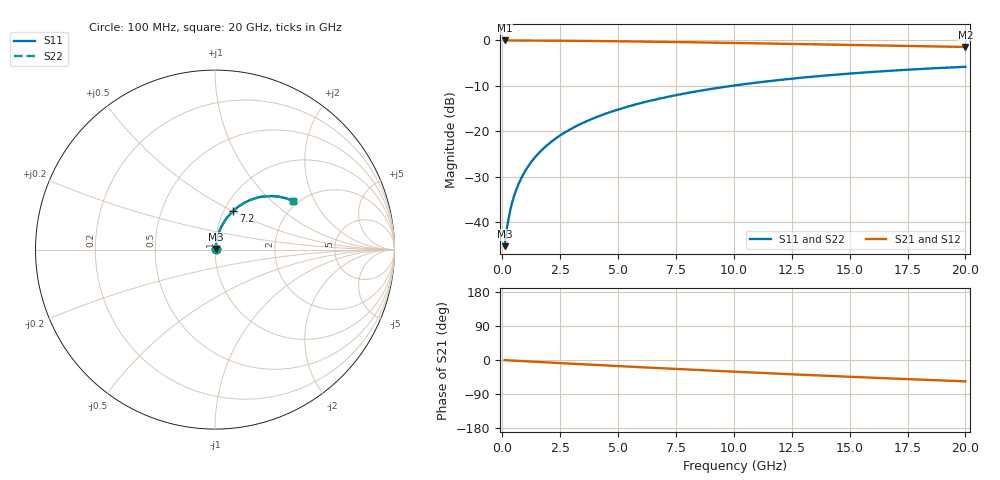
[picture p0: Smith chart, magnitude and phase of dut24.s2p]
! Touchstone file exported from HFSS 2026.1.0
!  File:  C:/ffzhzh/LocalFiles/Ansys_Project_Files/temp_train_TMRDL_24_1782880401_13352.aedt
!  Generated:  12:34:48 PM Jul  1, 2026
!  Design:  TMRDL
!  Project:  temp_train_TMRDL_24_1782880401_13352
! Variables:
!  h_bsmrdl = 2um
!  h_ox = 20um
!  h_rdl = 5um
!  h_sub = 80um
!  h_tmrdl = 5.82um
!  h_tsv = 80um
!  h_via = 3um
!  l_bsmrdl = 300um
!  l_sub = 1276.63um
!  l_tmrdl = 876.63um
!  m_sub = 200um
!  pitch = 42.99um
!  r_tsv = 6um
!  s_tmrdl = 10um
!  w_bsmrdl = 18um
!  w_sub = 500um
!  w_tmrdl = 14.11um
!  x_tsv_center1 = 883.685um
!  x_tsv_center2 = 1201.685um
!  x_tsv_center3 = 2092.425um
!  x_tsv_center4 = 2410.425um
!  x_tsv_center5 = 3301.165um
!  x_tsv_center6 = 3619.165um
# GHz S MA R 50.000000
! Terminal data exported
! Port[1] = TM_RDL1_1_T1
! Port[2] = TM_RDL1_1_T2
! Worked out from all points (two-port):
!   200 points, 100 MHz to 20 GHz, reference 50 ohm
!   highest |S21| = -0.03 dB at 100 MHz (marker M1); lowest = -1.5 dB at 20 GHz (marker M2)
!   |S21| within 3 dB of the highest: start of sweep to end of sweep
!   lowest |S11| = -45.3 dB at 100 MHz (marker M3), VSWR 1.01, Z = 50.4 + j0.382 ohm
!   |S11| at or under -10 dB: start of sweep to 9.956 GHz
!   |S22| runs from -45.3 to -5.8 dB; largest |S21 - S12| = 7.6e-15
!   S11 on the Smith chart (normalised r, x): 100 MHz: 1.01, +0.01; 7.2 GHz: 1.11, +0.51; 20 GHz: 1.87, +1.38
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0.1  0.005411 44.5  0.9962 -0.3  0.9962 -0.3  0.005411 44.5
! Gamma 0 0 0 0
! Port Impedance 50 0 50 0
0.2  0.008539 61.7  0.996 -0.7  0.996 -0.7  0.008539 61.7
0.3  0.01196 68.9  0.9958 -1.0  0.9958 -1.0  0.01196 68.9
0.4  0.01545 72.8  0.9957 -1.3  0.9957 -1.3  0.01545 72.8
0.5  0.01897 75.2  0.9955 -1.7  0.9955 -1.7  0.01897 75.2
0.6  0.02251 76.7  0.9954 -2.0  0.9954 -2.0  0.02251 76.7
0.8  0.02962 78.5  0.995 -2.7  0.995 -2.7  0.02962 78.5
1.1  0.04032 79.5  0.9944 -3.6  0.9944 -3.6  0.04032 79.5
1.5  0.05456 79.7  0.9934 -4.9  0.9934 -4.9  0.05456 79.7
1.8  0.06519 79.3  0.9925 -5.9  0.9925 -5.9  0.06519 79.3
2.1  0.07574 78.7  0.9914 -6.9  0.9914 -6.9  0.07574 78.7
2.7  0.09659 77.3  0.9889 -8.8  0.9889 -8.8  0.09659 77.3
3.5  0.1238 75.2  0.9848 -11.4  0.9848 -11.4  0.1238 75.2
4.2  0.147 73.2  0.9808 -13.6  0.9808 -13.6  0.147 73.2
5  0.1728 70.9  0.9757 -16.0  0.9757 -16.0  0.1728 70.9
6.8  0.2283 65.8  0.9627 -21.5  0.9627 -21.5  0.2283 65.8
7.2  0.2401 64.6  0.9595 -22.7  0.9595 -22.7  0.2401 64.6
8.6  0.28 60.7  0.9479 -26.8  0.9479 -26.8  0.28 60.7
10.1  0.32 56.6  0.9346 -31.1  0.9346 -31.1  0.32 56.6
13.4  0.3976 47.9  0.9037 -40.1  0.9037 -40.1  0.3976 47.9
16.7  0.4611 39.7  0.8729 -48.5  0.8729 -48.5  0.4611 39.7
20  0.5114 32.0  0.8448 -56.4  0.8448 -56.4  0.5114 32.1
